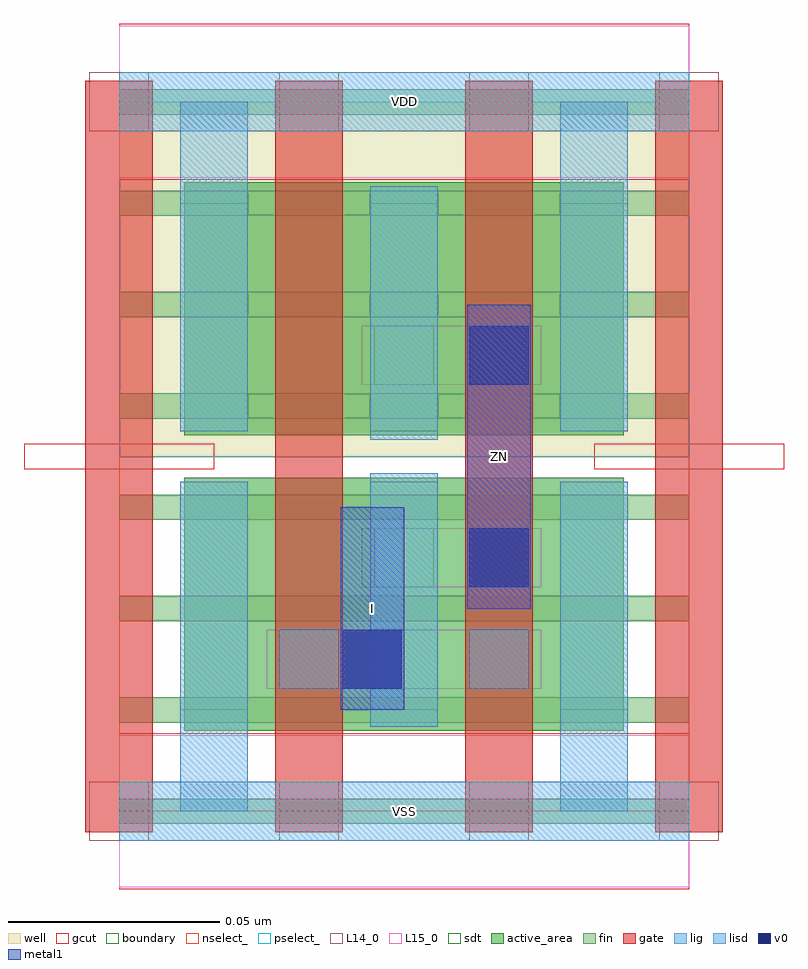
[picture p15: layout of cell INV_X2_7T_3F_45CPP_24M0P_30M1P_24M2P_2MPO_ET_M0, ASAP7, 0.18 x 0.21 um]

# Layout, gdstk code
import gdstk
lib = gdstk.Library(unit=1e-6, precision=2.5e-10)
def R(c, l, rs):  # rectangles x0, y0, x1, y1
    for r in rs: c.add(gdstk.rectangle(r[:2], r[2:], *l))
def A(c, l, x, y, w, h, nx, ny, dx, dy):  # array of equal rectangles
    R(c, l, [(x+i*dx, y+j*dy, x+i*dx+w, y+j*dy+h) for i in range(nx) for j in range(ny)])
well = (1, 0)
fin = (2, 0)
gate = (7, 0)
gcut = (10, 0)
active_area = (11, 0)
nselect_ = (12, 0)
pselect_ = (13, 0)
L14_0 = (14, 0)
L15_0 = (15, 0)
lig = (16, 0)
lisd = (17, 0)
v0 = (18, 0)
metal1 = (19, 0)
sdt = (88, 0)
boundary = (100, 0)

inv_x2_7t_3f_45cpp_24m0p = lib.new_cell('INV_X2_7T_3F_45CPP_24M0P_30M1P_24M2P_2MPO_ET_M0')
R(inv_x2_7t_3f_45cpp_24m0p, well, [(0,0.084,0.135,0.168)])
A(inv_x2_7t_3f_45cpp_24m0p, fin, 0, -0.003, 0.135, 0.006, 1, 8, 0, 0.024)
A(inv_x2_7t_3f_45cpp_24m0p, gate, -0.008, -0.005, 0.016, 0.178, 4, 1, 0.045, 0)
R(inv_x2_7t_3f_45cpp_24m0p, gcut, [(0,-0.0185,0.135,0.0185), (-0.0225,0.081,0.0225,0.087), (0.1125,0.081,0.1575,0.087), (0,0.1495,0.135,0.1865)])
R(inv_x2_7t_3f_45cpp_24m0p, active_area, [(0.0155,0.019,0.1195,0.079), (0.0155,0.089,0.1195,0.149)])
R(inv_x2_7t_3f_45cpp_24m0p, nselect_, [(0,0,0.135,0.084)])
R(inv_x2_7t_3f_45cpp_24m0p, pselect_, [(0,0.084,0.135,0.168)])
A(inv_x2_7t_3f_45cpp_24m0p, L14_0, -0.007, -0.007, 0.014, 0.014, 4, 2, 0.045, 0.168)
R(inv_x2_7t_3f_45cpp_24m0p, L14_0, [(0.038,0.029,0.052,0.043), (0.083,0.029,0.097,0.043), (0.0605,0.053,0.0745,0.067), (0.0605,0.101,0.0745,0.115)])
R(inv_x2_7t_3f_45cpp_24m0p, L15_0, [(0,-0.018,0.135,0.018), (0.035,0.029,0.1,0.043), (0.0575,0.053,0.1,0.067), (0.0575,0.101,0.1,0.115), (0,0.15,0.135,0.186)])
R(inv_x2_7t_3f_45cpp_24m0p, lig, [(0,-0.007,0.135,0.007), (0.038,0.029,0.052,0.043), (0.083,0.029,0.097,0.043), (0,0.161,0.135,0.175)])
R(inv_x2_7t_3f_45cpp_24m0p, lisd, [(0.0145,0,0.0305,0.078), (0.1045,0,0.1205,0.078), (0.0595,0.02,0.0755,0.08), (0.0595,0.088,0.0755,0.148), (0.0145,0.09,0.0305,0.168), (0.1045,0.09,0.1205,0.168)])
R(inv_x2_7t_3f_45cpp_24m0p, v0, [(0.053,0.029,0.067,0.043), (0.083,0.053,0.097,0.067), (0.083,0.101,0.097,0.115)])
R(inv_x2_7t_3f_45cpp_24m0p, metal1, [(0.0525,0.024,0.0675,0.072), (0.0825,0.048,0.0975,0.12)])
A(inv_x2_7t_3f_45cpp_24m0p, sdt, 0.0145, 0.024, 0.016, 0.054, 3, 2, 0.045, 0.066)
R(inv_x2_7t_3f_45cpp_24m0p, boundary, [(0,0,0.135,0.168)])
inv_x2_7t_3f_45cpp_24m0p.add(gdstk.Label('ZN', (0.09,0.084), layer=19, texttype=251))
inv_x2_7t_3f_45cpp_24m0p.add(gdstk.Label('I', (0.06,0.048), layer=19, texttype=251))
inv_x2_7t_3f_45cpp_24m0p.add(gdstk.Label('VDD', (0.0675,0.168), layer=15, texttype=251))
inv_x2_7t_3f_45cpp_24m0p.add(gdstk.Label('VSS', (0.0675,0), layer=15, texttype=251))
inv_x2_7t_3f_45cpp_24m0p.add(gdstk.Label('VDD', (0.0675,0.168), layer=1, texttype=251))
inv_x2_7t_3f_45cpp_24m0p.add(gdstk.Label('VSS', (0.0675,0), layer=3, texttype=251))

lib.write_gds('INV_X2_7T_3F_45CPP_24M0P_30M1P_24M2P_2MPO_ET_M0.gds')
